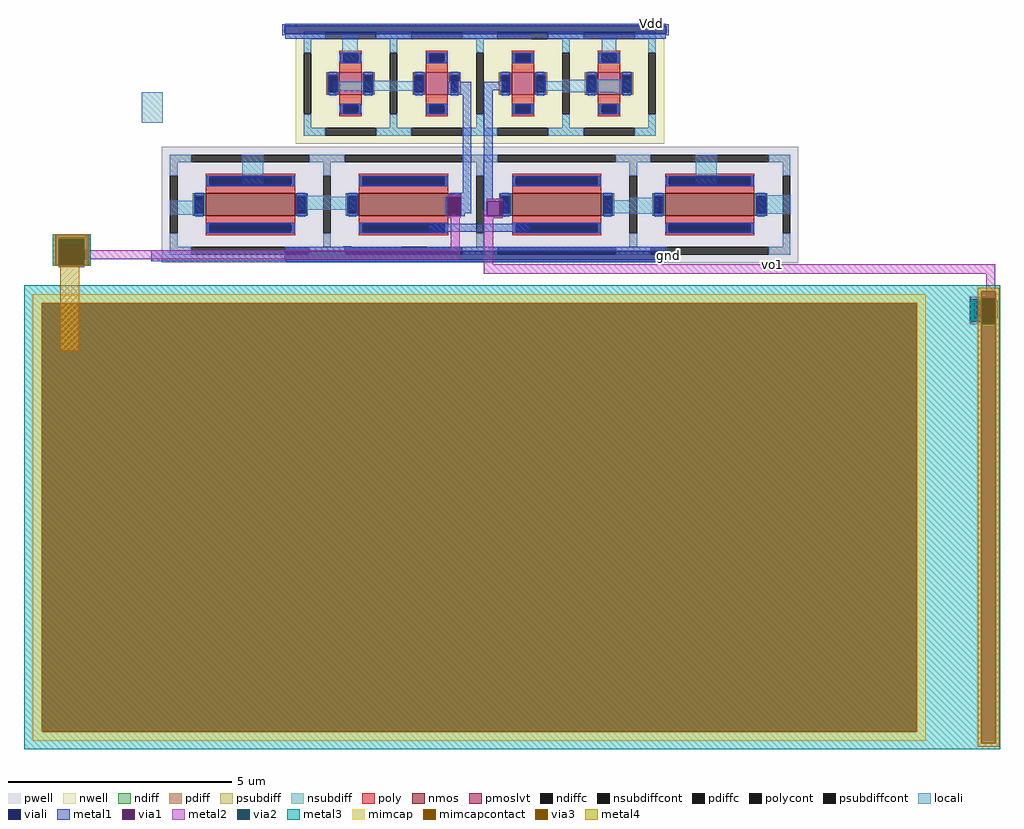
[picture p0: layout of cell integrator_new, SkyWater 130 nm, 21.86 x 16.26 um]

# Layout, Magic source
magic
tech sky130A
magscale 1 2
<< locali >>
rect 2418 3684 4121 3693
rect 2418 3646 3518 3647
rect 2418 3625 2604 3646
rect 2672 3516 2742 3644
rect 2876 3625 3518 3646
rect 3598 3625 4121 3647
rect 3836 3520 3900 3625
rect 2806 3434 2890 3436
rect 3658 3434 3964 3440
rect 2806 3433 3034 3434
rect 2634 3392 3034 3433
rect 3544 3392 3964 3434
rect 3658 3385 3964 3392
rect 3658 3384 3730 3385
rect 1774 3248 1868 3384
rect 3894 3382 3964 3385
rect 2224 2970 2318 3106
rect 4256 2970 4350 3106
rect 2474 2916 2624 2922
rect 1900 2836 2050 2900
rect 2474 2858 2738 2916
rect 3960 2906 4080 2912
rect 3960 2902 4090 2906
rect 3852 2854 4090 2902
rect 3852 2844 4080 2854
rect 3960 2840 4080 2844
rect 4524 2840 4678 2924
rect 2420 2690 2938 2692
rect 3054 2690 4123 2692
rect 2420 2672 4123 2690
rect 4122 2635 4123 2672
rect 2420 2624 4123 2635
<< viali >>
rect 2415 3650 4123 3684
rect 2415 3647 3518 3650
rect 3598 3647 4123 3650
rect 2414 2635 4122 2672
<< metal1 >>
rect 2418 3690 4121 3693
rect 2403 3684 4135 3690
rect 2403 3647 2415 3684
rect 3518 3647 3598 3650
rect 4123 3647 4135 3684
rect 2403 3641 4135 3647
rect 2418 3626 4121 3641
rect 2418 3625 3518 3626
rect 3598 3625 4121 3626
rect 2598 3624 2916 3625
rect 2971 3624 3010 3625
rect 3737 3622 3775 3625
rect 3146 3374 3250 3432
rect 3212 2934 3250 3374
rect 3182 2919 3250 2934
rect 3148 2918 3250 2919
rect 3136 2832 3146 2918
rect 3204 2844 3250 2918
rect 3307 3393 3410 3432
rect 3307 2897 3346 3393
rect 3307 2844 3319 2897
rect 3204 2832 3222 2844
rect 3148 2830 3222 2832
rect 3309 2830 3319 2844
rect 3392 2883 3402 2897
rect 3392 2844 3414 2883
rect 3392 2830 3402 2844
rect 3062 2760 3510 2797
rect 1412 2618 1422 2700
rect 1496 2618 1506 2700
rect 2678 2693 2713 2696
rect 2418 2690 2938 2693
rect 3054 2692 3510 2693
rect 3958 2692 4121 2693
rect 3054 2690 4121 2692
rect 2418 2678 4121 2690
rect 1818 2672 4134 2678
rect 1818 2635 2414 2672
rect 4122 2635 4134 2672
rect 1818 2629 4134 2635
rect 2418 2625 4121 2629
rect 5504 2372 5514 2448
rect 5598 2372 5608 2448
<< via1 >>
rect 3146 2832 3204 2918
rect 3319 2830 3392 2897
rect 1422 2618 1496 2700
rect 5514 2372 5598 2448
<< metal2 >>
rect 3146 2918 3204 2928
rect 3319 2897 3392 2907
rect 3146 2822 3204 2832
rect 3307 2830 3319 2857
rect 1402 2724 1516 2734
rect 3158 2678 3198 2822
rect 1516 2638 3198 2678
rect 3307 2820 3392 2830
rect 1402 2602 1516 2612
rect 3307 2614 3348 2820
rect 3307 2573 5598 2614
rect 5557 2468 5598 2573
rect 5484 2458 5600 2468
rect 5484 2346 5600 2356
<< via2 >>
rect 1402 2700 1516 2724
rect 1402 2618 1422 2700
rect 1422 2618 1496 2700
rect 1496 2618 1516 2700
rect 1402 2612 1516 2618
rect 5484 2448 5600 2458
rect 5484 2372 5514 2448
rect 5514 2372 5598 2448
rect 5598 2372 5600 2448
rect 5484 2356 5600 2372
<< metal3 >>
rect 1376 2608 1386 2748
rect 1536 2608 1546 2748
rect 1392 2607 1526 2608
rect 5474 2458 5610 2463
rect 5474 2356 5484 2458
rect 5600 2356 5610 2458
rect 5474 2351 5610 2356
<< via3 >>
rect 1386 2724 1536 2748
rect 1386 2612 1402 2724
rect 1402 2612 1516 2724
rect 1516 2612 1536 2724
rect 1386 2608 1536 2612
<< metal4 >>
rect 1385 2748 1537 2749
rect 1385 2608 1386 2748
rect 1536 2608 1537 2748
rect 1385 2607 1537 2608
rect 1410 2226 1494 2607
use sky130_fd_pr__nfet_01v8_U3V43Z  sky130_fd_pr__nfet_01v8_U3V43Z_0
transform 1 0 2261 0 1 2882
box -396 -260 396 260
use sky130_fd_pr__nfet_01v8_U3V43Z  sky130_fd_pr__nfet_01v8_U3V43Z_1
transform 1 0 4319 0 1 2882
box -396 -260 396 260
use sky130_fd_pr__pfet_01v8_lvt_TM5SY6  sky130_fd_pr__pfet_01v8_lvt_TM5SY6_0
transform 1 0 3868 0 1 3424
box -246 -269 246 269
use sky130_fd_pr__cap_mim_m3_1_TNHPNJ  XC3
transform 1 0 3433 0 1 1481
box -2186 -1040 2186 1040
use sky130_fd_pr__nfet_01v8_U3V43Z  XM1
transform 1 0 2947 0 1 2882
box -396 -260 396 260
use sky130_fd_pr__nfet_01v8_U3V43Z  XM2
transform 1 0 3633 0 1 2882
box -396 -260 396 260
use sky130_fd_pr__pfet_01v8_lvt_TM5SY6  XM3
transform 1 0 3482 0 1 3424
box -246 -269 246 269
use sky130_fd_pr__pfet_01v8_lvt_TM5SY6  XM6
transform 1 0 2710 0 1 3424
box -246 -269 246 269
use sky130_fd_pr__pfet_01v8_lvt_TM5SY6  XM18
transform 1 0 3096 0 1 3424
box -246 -269 246 269
<< labels >>
rlabel metal2 4602 2614 4602 2614 1 vo1
rlabel metal1 4056 3693 4056 3693 1 Vdd
rlabel metal1 4134 2653 4134 2653 3 gnd
<< end >>

# cell sky130_fd_pr__nfet_01v8_U3V43Z: kit device sky130_fd_pr__nfet_01v8, w 0.5 l 2 m 1 nf 1 diffcov 100 polycov 100 guard 1 glc 1 grc 1 gtc 1 gbc 1 tbcov 100 rlcov 100 topc 1 botc 1 poverlap 0 doverlap 1 lmin 0.15 wmin 0.42 compatible {sky130_fd_pr__nfet_01v8 sky130_fd_pr__nfet_01v8_lvt sky130_fd_bs_flash__special_sonosfet_star sky130_fd_pr__nfet_g5v0d10v5 sky130_fd_pr__nfet_05v0_nvt sky130_fd_pr__nfet_03v3_nvt} full_metal 1 viasrc 100 viadrn 100 viagate 100 viagb 0 viagr 0 viagl 0 viagt 0

# cell sky130_fd_pr__pfet_01v8_lvt_TM5SY6: kit device sky130_fd_pr__pfet_01v8_lvt, w 0.5 l 0.5 m 1 nf 1 diffcov 100 polycov 100 guard 1 glc 1 grc 1 gtc 1 gbc 1 tbcov 100 rlcov 100 topc 1 botc 1 poverlap 0 doverlap 1 lmin 0.15 wmin 0.42 compatible {sky130_fd_pr__pfet_01v8 sky130_fd_pr__pfet_01v8_lvt sky130_fd_pr__pfet_01v8_hvt sky130_fd_pr__pfet_g5v0d10v5} full_metal 1 viasrc 100 viadrn 100 viagate 100 viagb 0 viagr 0 viagl 0 viagt 0

# cell sky130_fd_pr__cap_mim_m3_1_TNHPNJ: kit device sky130_fd_pr__cap_mim_m3_1, w 20.0 l 10.0 val 411.4 carea 2.00 cperi 0.19 nx 1 ny 1 dummy 0 square 0 lmin 2.00 wmin 2.00 lmax 30.0 wmax 30.0 dc 0 bconnect 1 tconnect 1 ccov 100
